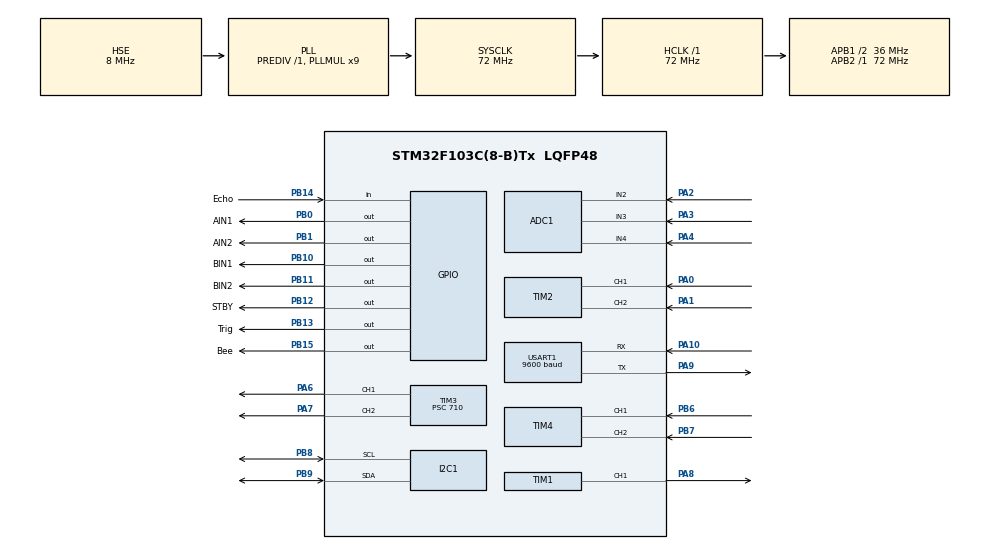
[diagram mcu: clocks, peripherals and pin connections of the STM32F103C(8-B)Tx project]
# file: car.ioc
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ADC1.Channel-1\#ChannelRegularConversion=ADC_CHANNEL_2
ADC1.Channel-2\#ChannelRegularConversion=ADC_CHANNEL_3
ADC1.Channel-3\#ChannelRegularConversion=ADC_CHANNEL_4
ADC1.ContinuousConvMode=ENABLE
ADC1.NbrOfConversion=3
ADC1.NbrOfConversionFlag=1
ADC1.Rank-1\#ChannelRegularConversion=1
ADC1.Rank-2\#ChannelRegularConversion=2
ADC1.Rank-3\#ChannelRegularConversion=3
ADC1.SamplingTime-1\#ChannelRegularConversion=ADC_SAMPLETIME_55CYCLES_5
ADC1.SamplingTime-2\#ChannelRegularConversion=ADC_SAMPLETIME_55CYCLES_5
ADC1.SamplingTime-3\#ChannelRegularConversion=ADC_SAMPLETIME_55CYCLES_5
ADC1.master=1
Dma.ADC1.0.Direction=DMA_PERIPH_TO_MEMORY
Dma.ADC1.0.Instance=DMA1_Channel1
Dma.ADC1.0.MemDataAlignment=DMA_MDATAALIGN_HALFWORD
Dma.ADC1.0.MemInc=DMA_MINC_ENABLE
Dma.ADC1.0.Mode=DMA_CIRCULAR
Dma.ADC1.0.PeriphDataAlignment=DMA_PDATAALIGN_HALFWORD
Dma.ADC1.0.PeriphInc=DMA_PINC_DISABLE
Dma.ADC1.0.Priority=DMA_PRIORITY_LOW
Dma.Request0=ADC1
Mcu.Family=STM32F1
Mcu.Name=STM32F103C(8-B)Tx
Mcu.Package=LQFP48
NVIC.DMA1_Channel1_IRQn=true\:0\:0\:false\:false\:true\:false\:true\:true
NVIC.PriorityGroup=NVIC_PRIORITYGROUP_4
PA0-WKUP.Signal=S_TIM2_CH1_ETR
PA1.Signal=S_TIM2_CH2
PA10.Mode=Asynchronous
PA10.Signal=USART1_RX
PA13.Mode=Serial_Wire
PA13.Signal=SYS_JTMS-SWDIO
PA14.Mode=Serial_Wire
PA14.Signal=SYS_JTCK-SWCLK
PA2.Signal=ADCx_IN2
PA3.Signal=ADCx_IN3
PA4.Signal=ADCx_IN4
PA6.Signal=S_TIM3_CH1
PA7.Signal=S_TIM3_CH2
PA8.Signal=S_TIM1_CH1
PA9.Mode=Asynchronous
PA9.Signal=USART1_TX
PB0.GPIO_Label=AIN1
PB0.GPIO_ModeDefaultOutputPP=GPIO_MODE_OUTPUT_PP
PB0.Signal=GPIO_Output
PB1.GPIO_Label=AIN2
PB1.Signal=GPIO_Output
PB10.GPIO_Label=BIN1
PB10.Signal=GPIO_Output
PB11.GPIO_Label=BIN2
PB11.Signal=GPIO_Output
PB12.GPIO_Label=STBY
PB12.Signal=GPIO_Output
PB13.GPIO_Label=Trig
PB13.Signal=GPIO_Output
PB14.GPIO_Label=Echo
PB14.GPIO_PuPd=GPIO_PULLUP
PB14.Signal=GPIO_Input
PB15.GPIO_Label=Bee
PB15.Signal=GPIO_Output
PB6.Signal=S_TIM4_CH1
PB7.Signal=S_TIM4_CH2
PB8.Mode=I2C
PB8.Signal=I2C1_SCL
PB9.Mode=I2C
PB9.Signal=I2C1_SDA
PD0-OSC_IN.Mode=HSE-External-Oscillator
PD0-OSC_IN.Signal=RCC_OSC_IN
PD1-OSC_OUT.Mode=HSE-External-Oscillator
PD1-OSC_OUT.Signal=RCC_OSC_OUT
ProjectManager.HeapSize=0x200
ProjectManager.StackSize=0x400
ProjectManager.TargetToolchain=MDK-ARM V5.32
RCC.ADCPresc=RCC_ADCPCLK2_DIV6
RCC.AHBFreq_Value=72000000
RCC.APB1CLKDivider=RCC_HCLK_DIV2
RCC.APB1Freq_Value=36000000
RCC.APB1TimFreq_Value=72000000
RCC.APB2Freq_Value=72000000
RCC.APB2TimFreq_Value=72000000
RCC.HCLKFreq_Value=72000000
RCC.PLLMUL=RCC_PLL_MUL9
RCC.PLLSourceVirtual=RCC_PLLSOURCE_HSE
RCC.SYSCLKFreq_VALUE=72000000
RCC.SYSCLKSource=RCC_SYSCLKSOURCE_PLLCLK
RCC.USBFreq_Value=72000000
SH.ADCx_IN2.0=ADC1_IN2,IN2
SH.ADCx_IN3.0=ADC1_IN3,IN3
SH.ADCx_IN4.0=ADC1_IN4,IN4
SH.S_TIM1_CH1.0=TIM1_CH1,PWM Generation1 CH1
SH.S_TIM2_CH1_ETR.0=TIM2_CH1,Encoder_Interface
SH.S_TIM2_CH2.0=TIM2_CH2,Encoder_Interface
SH.S_TIM3_CH1.0=TIM3_CH1,PWM Generation1 CH1
SH.S_TIM3_CH2.0=TIM3_CH2,PWM Generation2 CH2
SH.S_TIM4_CH1.0=TIM4_CH1,Encoder_Interface
SH.S_TIM4_CH2.0=TIM4_CH2,Encoder_Interface
TIM1.Channel-PWM\ Generation1\ CH1=TIM_CHANNEL_1
TIM1.Period=19999
TIM1.Prescaler=71
TIM3.Channel-PWM\ Generation1\ CH1=TIM_CHANNEL_1
TIM3.Channel-PWM\ Generation2\ CH2=TIM_CHANNEL_2
TIM3.Period=99
TIM3.Prescaler=710
USART1.BaudRate=9600
USART1.VirtualMode=VM_ASYNC
board=custom

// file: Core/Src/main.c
/* USER CODE BEGIN Header */
/**
  ******************************************************************************
  * @file           : main.c
  * @brief          : Main program body
  ******************************************************************************
  * @attention
  *
  * Copyright (c) 2026 STMicroelectronics.
  * All rights reserved.
  *
  * This software is licensed under terms that can be found in the LICENSE file
  * in the root directory of this software component.
  * If no LICENSE file comes with this software, it is provided AS-IS.
  *
  ******************************************************************************
  */
/* USER CODE END Header */
#include "main.h"
#include "adc.h"
#include "dma.h"
#include "i2c.h"
#include "tim.h"
#include "usart.h"
#include "gpio.h"

/* USER CODE BEGIN Includes */
#include "oled.h"
#include "ultrasonic.h"
#include "buzzer.h"
#include "trace_follow.h"
#include "app_bluetooth_control.h"
#include <stdio.h>
#include <string.h>
/* USER CODE END Includes */

/* USER CODE BEGIN PV */
static uint32_t g_distance_cm = 0;
static uint32_t g_ui_tick = 0;
static uint8_t g_buzzer_on = 0;
static uint16_t g_trace_left = 0;
static uint16_t g_trace_middle = 0;
static uint16_t g_trace_right = 0;
static float g_trace_error = 0.0f;
static uint8_t g_bt_rx_byte = 0;

/* USER CODE END PV */

void SystemClock_Config(void);

int main(void)
{

  /* MCU Configuration--------------------------------------------------------*/

  /* Reset of all peripherals, Initializes the Flash interface and the Systick. */
  HAL_Init();

  /* Configure the system clock */
  SystemClock_Config();

  /* Initialize all configured peripherals */
  MX_GPIO_Init();
  MX_DMA_Init();
  MX_ADC1_Init();
  MX_I2C1_Init();
  MX_TIM1_Init();
  MX_TIM2_Init();
  MX_TIM3_Init();
  MX_TIM4_Init();
  MX_USART1_UART_Init();
  /* USER CODE BEGIN 2 */
  Buzzer_Init();
  Ultrasonic_Init();
  OLED_Init();
  TraceFollow_Init();
  TraceFollow_SetSpeed(60);
  TraceFollow_SetPid(18.0f, 0.0f, 6.0f);
  TraceFollow_SetServoCenter(1500);
  TraceFollow_SetServoRange(1200, 1800);
  TraceFollow_Start();
  TraceFollow_ManualStop();
  AppBt_Init();
  AppBt_SetMode(APP_BT_MODE_MANUAL);
  AppBt_SetEchoDebug(1U);
  AppBt_SendText("BT:DEBUG ON\r\nMODE:MANUAL\r\n");
  if (HAL_UART_Receive_IT(&huart1, &g_bt_rx_byte, 1) != HAL_OK)
  {
    Error_Handler();
  }
  HAL_Delay(50);
  OLED_Clear();
  OLED_ShowString(0, 0, "CAR READY", 1);
  OLED_ShowString(0, 16, "AUTO MODE", 1);
  HAL_Delay(50);
  /* USER CODE END 2 */

  /* Infinite loop */
  while (1)
  {

    /* USER CODE BEGIN 3 */
    uint16_t trace_l = 0;
    uint16_t trace_m = 0;
    uint16_t trace_r = 0;
    float trace_error = 0.0f;
    char line[24];
    AppBtMode_t bt_mode = AppBt_GetMode();

    AppBt_Process();

    if (bt_mode == APP_BT_MODE_AUTO)
    {
      g_distance_cm = Ultrasonic_ReadDistanceCm();
      TraceFollow_HandleObstacle(g_distance_cm);
      TraceFollow_Update();
      TraceFollow_GetAdc(&trace_l, &trace_m, &trace_r);
      trace_error = TraceFollow_GetError();

      OLED_Clear();
      OLED_ShowString(0, 0, TraceFollow_IsObstacleActive() ? "OBSTACLE" : "AUTO MODE", 1);
      if (g_distance_cm == 0U)
      {
        snprintf(line, sizeof(line), "DIST: -- CM");
      }
      else
      {
        snprintf(line, sizeof(line), "DIST:%luCM", (unsigned long)g_distance_cm);
      }
      OLED_ShowString(0, 16, line, 1);

      snprintf(line, sizeof(line), "L%u M%u R%u", trace_l, trace_m, trace_r);
      OLED_ShowString(0, 32, line, 1);
      snprintf(line, sizeof(line), "E%.2f", trace_error);
      OLED_ShowString(0, 48, line, 1);

      if (++g_ui_tick >= 10U)
      {
        g_ui_tick = 0;
        Bluetooth_SendTraceState(trace_l, trace_m, trace_r, trace_error);
      }

      if (TraceFollow_IsObstacleActive())
      {
        if (g_buzzer_on == 0U)
        {
          Buzzer_On();
          g_buzzer_on = 1U;
        }
      }
      else
      {
        if (g_buzzer_on != 0U)
        {
          Buzzer_Off();
          g_buzzer_on = 0U;
        }
      }
    }
    else
    {
      OLED_Clear();
      OLED_ShowString(0, 0, "MANUAL MODE", 1);
      OLED_ShowString(0, 16, "BT CONTROL", 1);
      OLED_ShowString(0, 32, "F/B/L/R/S", 1);
      OLED_ShowString(0, 48, "A= AUTO", 1);

      if (g_buzzer_on != 0U)
      {
        Buzzer_Off();
        g_buzzer_on = 0U;
      }
    }

    HAL_Delay(5);
  }
  /* USER CODE END 3 */
}

void SystemClock_Config(void)
{
  RCC_OscInitTypeDef RCC_OscInitStruct = {0};
  RCC_ClkInitTypeDef RCC_ClkInitStruct = {0};
  RCC_PeriphCLKInitTypeDef PeriphClkInit = {0};

  /** Initializes the RCC Oscillators according to the specified parameters
  * in the RCC_OscInitTypeDef structure.
  */
  RCC_OscInitStruct.OscillatorType = RCC_OSCILLATORTYPE_HSE;
  RCC_OscInitStruct.HSEState = RCC_HSE_ON;
  RCC_OscInitStruct.HSEPredivValue = RCC_HSE_PREDIV_DIV1;
  RCC_OscInitStruct.HSIState = RCC_HSI_ON;
  RCC_OscInitStruct.PLL.PLLState = RCC_PLL_ON;
  RCC_OscInitStruct.PLL.PLLSource = RCC_PLLSOURCE_HSE;
  RCC_OscInitStruct.PLL.PLLMUL = RCC_PLL_MUL9;
  if (HAL_RCC_OscConfig(&RCC_OscInitStruct) != HAL_OK)
  {
    Error_Handler();
  }

  /** Initializes the CPU, AHB and APB buses clocks
  */
  RCC_ClkInitStruct.ClockType = RCC_CLOCKTYPE_HCLK|RCC_CLOCKTYPE_SYSCLK
                              |RCC_CLOCKTYPE_PCLK1|RCC_CLOCKTYPE_PCLK2;
  RCC_ClkInitStruct.SYSCLKSource = RCC_SYSCLKSOURCE_PLLCLK;
  RCC_ClkInitStruct.AHBCLKDivider = RCC_SYSCLK_DIV1;
  RCC_ClkInitStruct.APB1CLKDivider = RCC_HCLK_DIV2;
  RCC_ClkInitStruct.APB2CLKDivider = RCC_HCLK_DIV1;

  if (HAL_RCC_ClockConfig(&RCC_ClkInitStruct, FLASH_LATENCY_2) != HAL_OK)
  {
    Error_Handler();
  }
  PeriphClkInit.PeriphClockSelection = RCC_PERIPHCLK_ADC;
  PeriphClkInit.AdcClockSelection = RCC_ADCPCLK2_DIV6;
  if (HAL_RCCEx_PeriphCLKConfig(&PeriphClkInit) != HAL_OK)
  {
    Error_Handler();
  }
}

/* USER CODE BEGIN 4 */
void HAL_UART_RxCpltCallback(UART_HandleTypeDef *huart)
{
  if (huart->Instance == USART1)
  {
    AppBt_PushByte(g_bt_rx_byte);
    if (HAL_UART_Receive_IT(&huart1, &g_bt_rx_byte, 1) != HAL_OK)
    {
      Error_Handler();
    }

    switch (g_bt_rx_byte)
    {
      case 'M':
      case 'm':
        TraceFollow_ManualStop();
        AppBt_SetMode(APP_BT_MODE_MANUAL);
        AppBt_SendText("MODE:MANUAL\r\n");
        break;
      case 'A':
      case 'a':
        TraceFollow_ManualStop();
        AppBt_SetMode(APP_BT_MODE_AUTO);
        AppBt_SendText("MODE:AUTO\r\n");
        break;
      case 'F':
      case 'f':
        if (AppBt_GetMode() == APP_BT_MODE_MANUAL)
        {
          TraceFollow_ManualForward(300);
          AppBt_SendAck(APP_BT_CMD_FORWARD);
        }
        break;
      case 'B':
      case 'b':
        if (AppBt_GetMode() == APP_BT_MODE_MANUAL)
        {
          TraceFollow_ManualBackward(300);
          AppBt_SendAck(APP_BT_CMD_BACKWARD);
        }
        break;
      case 'L':
      case 'l':
        if (AppBt_GetMode() == APP_BT_MODE_MANUAL)
        {
          TraceFollow_ManualLeft(250);
          AppBt_SendAck(APP_BT_CMD_LEFT);
        }
        break;
      case 'R':
      case 'r':
        if (AppBt_GetMode() == APP_BT_MODE_MANUAL)
        {
          TraceFollow_ManualRight(250);
          AppBt_SendAck(APP_BT_CMD_RIGHT);
        }
        break;
      case 'S':
      case 's':
        TraceFollow_ManualStop();
        AppBt_SendAck(APP_BT_CMD_STOP);
        break;
      default:
        break;
    }
  }
}
/* USER CODE END 4 */

void Error_Handler(void)
{
  __disable_irq();
  while (1)
  {
  }
}
